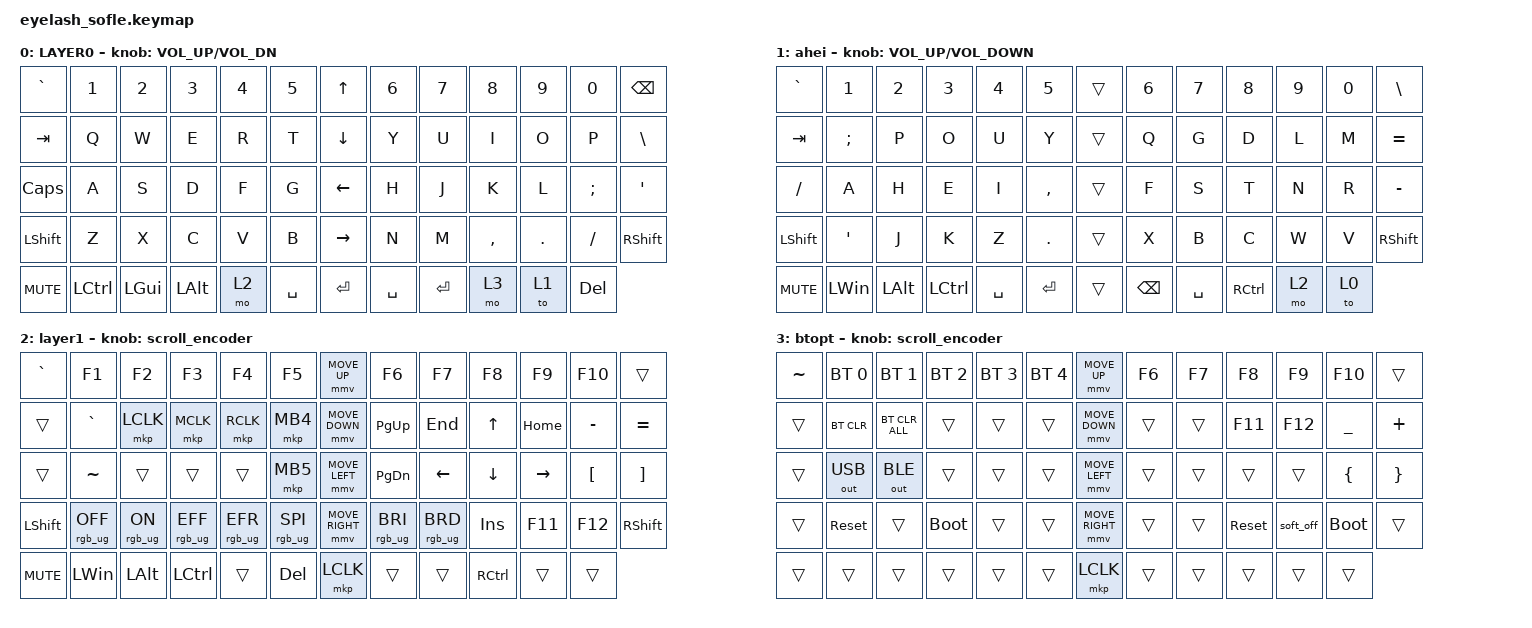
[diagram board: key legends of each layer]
#define ZMK_POINTING_DEFAULT_MOVE_VAL 1200  // 600
#define ZMK_POINTING_DEFAULT_SCRL_VAL 35    // 10

#include <input/processors.dtsi>
#include <zephyr/dt-bindings/input/input-event-codes.h>
#include <behaviors.dtsi>
#include <dt-bindings/zmk/bt.h>
#include <dt-bindings/zmk/keys.h>
#include <dt-bindings/zmk/outputs.h>
#include <dt-bindings/zmk/pointing.h>
#include <dt-bindings/zmk/pointing.h>
#include <dt-bindings/zmk/pointing.h>
#include <dt-bindings/zmk/rgb.h>

/ {
    zip_scroll_scaler: zip_scroll_scaler {
        compatible = "zmk,input-processor-scaler";
        #input-processor-cells = <2>;
        type = <INPUT_EV_REL>;
        codes = <INPUT_REL_WHEEL INPUT_REL_HWHEEL>;
        track-remainders;
    };
};

&mmv_input_listener { input-processors = <&zip_xy_scaler 2 1>; };

&msc_input_listener { input-processors = <&zip_scroll_scaler 2 1>; };

&msc {
    acceleration-exponent = <0>;      // 0
    time-to-max-speed-ms = <0>;       // 300
    delay-ms = <0>;                   // 0
};

&mmv {
    time-to-max-speed-ms = <400>;
    acceleration-exponent = <1>;
};

/ {
    scroll_encoder: scroll_encoder {
        compatible = "zmk,behavior-sensor-rotate";
        #sensor-binding-cells = <0>;
        bindings = <&msc SCRL_DOWN>, <&msc SCRL_UP>;

        tap-ms = <30>;
    };

    behaviors {
    };

    keymap {
        compatible = "zmk,keymap";

        qwerty {
            bindings = <
&kp GRAVE   &kp N1     &kp N2        &kp N3        &kp N4  &kp N5       &kp UP_ARROW     &kp N6     &kp N7     &kp N8     &kp N9   &kp N0      &kp BACKSPACE
&kp TAB     &kp Q      &kp W         &kp E         &kp R   &kp T        &kp DOWN_ARROW   &kp Y      &kp U      &kp I      &kp O    &kp P       &kp BSLH
&kp CAPS    &kp A      &kp S         &kp D         &kp F   &kp G        &kp LEFT_ARROW   &kp H      &kp J      &kp K      &kp L    &kp SEMI    &kp APOS
&kp LSHFT   &kp Z      &kp X         &kp C         &kp V   &kp B        &kp RIGHT_ARROW  &kp N      &kp M      &kp COMMA  &kp DOT  &kp FSLH    &kp RIGHT_SHIFT
&kp C_MUTE  &kp LCTRL  &kp LEFT_GUI  &kp LEFT_ALT  &mo 2   &kp SPACE    &kp ENTER        &kp SPACE  &kp ENTER  &mo 3      &to 1    &kp DELETE
            >;

            sensor-bindings = <&inc_dec_kp C_VOLUME_UP C_VOL_DN>;
            display-name = "LAYER0";
        };

        ahei {
            bindings = <
&kp GRAVE       &kp N1        &kp N2        &kp N3     &kp N4     &kp N5       &trans  &kp N6         &kp N7     &kp N8     &kp N9  &kp N0  &kp BACKSLASH
&kp TAB         &kp SEMI      &kp P         &kp O      &kp U      &kp Y        &trans  &kp Q          &kp G      &kp D      &kp L   &kp M   &kp EQUAL
&kp SLASH       &kp A         &kp H         &kp E      &kp I      &kp COMMA    &trans  &kp F          &kp S      &kp T      &kp N   &kp R   &kp MINUS
&kp LEFT_SHIFT  &kp SQT       &kp J         &kp K      &kp Z      &kp DOT      &trans  &kp X          &kp B      &kp C      &kp W   &kp V   &kp RIGHT_SHIFT
&kp C_MUTE      &kp LEFT_WIN  &kp LEFT_ALT  &kp LCTRL  &kp SPACE  &kp RET      &trans  &kp BACKSPACE  &kp SPACE  &kp RCTRL  &mo 2   &to 0
            >;

            sensor-bindings = <&inc_dec_kp C_VOLUME_UP C_VOLUME_DOWN>;
        };

        functions {
            bindings = <
&kp GRAVE       &kp F1           &kp F2          &kp F3            &kp F4           &kp F5             &mmv MOVE_UP     &kp F6           &kp F7           &kp F8             &kp F9     &kp F10           &trans
&trans          &kp GRAVE        &mkp LCLK       &mkp MCLK         &mkp RCLK        &mkp MB4           &mmv MOVE_DOWN   &kp PG_UP        &kp END          &kp UP             &kp HOME   &kp MINUS         &kp EQUAL
&trans          &kp TILDE        &trans          &trans            &trans           &mkp MB5           &mmv MOVE_LEFT   &kp PG_DN        &kp LEFT         &kp DOWN           &kp RIGHT  &kp LEFT_BRACKET  &kp RIGHT_BRACKET
&kp LEFT_SHIFT  &rgb_ug RGB_OFF  &rgb_ug RGB_ON  &rgb_ug RGB_EFF   &rgb_ug RGB_EFR  &rgb_ug RGB_SPI    &mmv MOVE_RIGHT  &rgb_ug RGB_BRI  &rgb_ug RGB_BRD  &kp INSERT         &kp F11    &kp F12           &kp RIGHT_SHIFT
&kp C_MUTE      &kp LEFT_WIN     &kp LEFT_ALT    &kp LEFT_CONTROL  &trans           &kp DELETE         &mkp LCLK        &trans           &trans           &kp RIGHT_CONTROL  &trans     &trans
            >;

            display-name = "layer1";
            sensor-bindings = <&scroll_encoder>;
        };

        btopt {
            bindings = <
&kp TILDE  &bt BT_SEL 0  &bt BT_SEL 1    &bt BT_SEL 2  &bt BT_SEL 3  &bt BT_SEL 4    &mmv MOVE_UP     &kp F6  &kp F7  &kp F8      &kp F9     &kp F10      &trans
&trans     &bt BT_CLR    &bt BT_CLR_ALL  &trans        &trans        &trans          &mmv MOVE_DOWN   &trans  &trans  &kp F11     &kp F12    &kp UNDER    &kp PLUS
&trans     &out OUT_USB  &out OUT_BLE    &trans        &trans        &trans          &mmv MOVE_LEFT   &trans  &trans  &trans      &trans     &kp LBRC     &kp RBRC
&trans     &sys_reset    &trans          &bootloader   &trans        &trans          &mmv MOVE_RIGHT  &trans  &trans  &sys_reset  &soft_off  &bootloader  &trans
&trans     &trans        &trans          &trans        &trans        &trans          &mkp LCLK        &trans  &trans  &trans      &trans     &trans
            >;

            sensor-bindings = <&scroll_encoder>;
        };
    };
};
